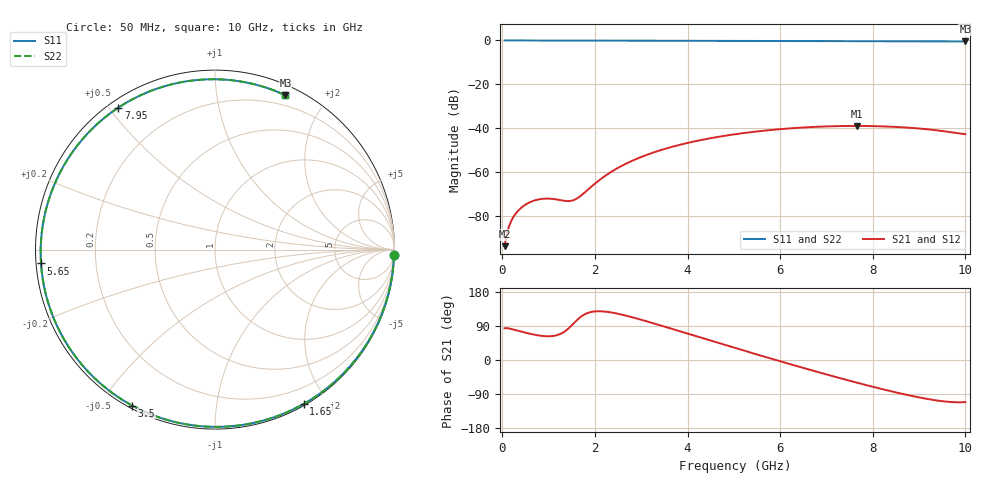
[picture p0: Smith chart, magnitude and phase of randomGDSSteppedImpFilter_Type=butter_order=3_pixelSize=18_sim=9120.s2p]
! freq	dB(S11)	phase(S11)	dB(S12)	phase(S12)
!  dB(S21)	phase(S21)	dB(S22)	phase(S22)
!S-par simulation data
#  GHz  S  DB  R 50
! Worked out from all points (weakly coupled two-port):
!   200 points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, 50 MHz to 10 GHz, reference 50 ohm
!   highest |S21| = -39.05 dB at 7.65 GHz (marker M1); lowest = -94.0 dB at 50 MHz (marker M2)
!   lowest |S11| = -0.5 dB at 10 GHz (marker M3), VSWR 35.32, Z = 4.84 + j77.6 ohm
!   |S11| at or under -10 dB: nowhere
!   |S22| runs from -0.5 to 0.0 dB; largest |S21 - S12| = 0
!   S11 on the Smith chart (normalised r, x): 50 MHz: 5, -61; 1.65 GHz: 0.02, -1.73; 3.5 GHz: 0.01, -0.60; 5.65 GHz: 0.01, -0.04; 7.95 GHz: 0.03, +0.53; 10 GHz: 0.10, +1.55
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0.05  -0.02 -1.9  -93.96 83.8  -93.96 83.8  -0.02 -1.9
0.25  -0.02 -9.4  -80.29 80.0  -80.29 80.0  -0.02 -9.4
0.5  -0.03 -18.7  -75.00 72.0  -75.00 72.0  -0.03 -18.7
0.75  -0.04 -28.0  -72.77 65.5  -72.77 65.5  -0.04 -28.0
1  -0.05 -37.1  -72.24 62.6  -72.24 62.6  -0.05 -37.1
1.45  -0.07 -53.1  -73.36 85.6  -73.36 85.6  -0.07 -53.1
1.65  -0.07 -60.1  -71.66 109.5  -71.66 109.5  -0.07 -60.1
1.75  -0.08 -63.5  -69.99 118.5  -69.99 118.5  -0.08 -63.5
2.15  -0.09 -76.8  -62.93 128.4  -62.93 128.4  -0.09 -76.8
2.5  -0.11 -88.0  -58.19 122.0  -58.19 122.0  -0.11 -88.0
2.9  -0.12 -100.4  -54.09 109.7  -54.09 109.7  -0.12 -100.4
3.4  -0.14 -115.1  -50.24 91.9  -50.24 91.9  -0.14 -115.1
3.5  -0.14 -118.0  -49.59 88.2  -49.59 88.2  -0.14 -118.0
4.3  -0.17 -140.2  -45.45 58.4  -45.45 58.4  -0.17 -140.2
5.05  -0.21 -160.0  -42.77 30.8  -42.77 30.8  -0.21 -160.0
5.65  -0.24 -175.4  -41.22 9.1  -41.22 9.1  -0.24 -175.4
6.7  -0.31 157.5  -39.53 -27.8  -39.53 -27.8  -0.31 157.5
7.65  -0.36 132.4  -39.05 -59.6  -39.05 -59.6  -0.36 132.4
7.95  -0.38 124.2  -39.11 -69.1  -39.11 -69.1  -0.38 124.3
8.35  -0.41 113.2  -39.36 -81.2  -39.36 -81.2  -0.41 113.2
9.2  -0.45 88.9  -40.63 -103.2  -40.63 -103.2  -0.45 88.9
10  -0.49 65.4  -42.83 -111.1  -42.83 -111.1  -0.49 65.5
